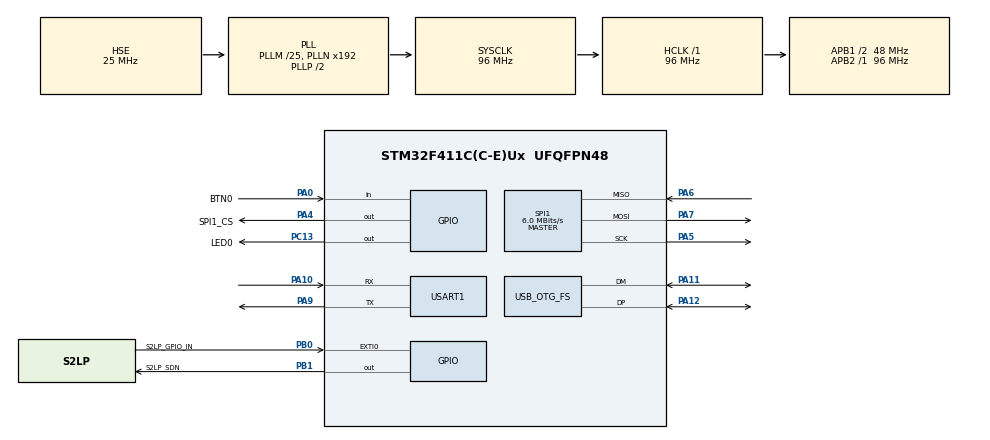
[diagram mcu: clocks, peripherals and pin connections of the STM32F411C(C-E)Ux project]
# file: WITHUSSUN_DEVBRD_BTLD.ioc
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Mcu.Family=STM32F4
Mcu.Name=STM32F411C(C-E)Ux
Mcu.Package=UFQFPN48
NVIC.EXTI0_IRQn=true\:0\:0\:false\:false\:true\:true\:true\:true
NVIC.OTG_FS_IRQn=true\:0\:0\:false\:false\:true\:false\:true\:true
NVIC.PriorityGroup=NVIC_PRIORITYGROUP_4
NVIC.TIM1_UP_TIM10_IRQn=true\:15\:0\:false\:false\:true\:false\:true\:true
NVIC.TimeBase=TIM1_UP_TIM10_IRQn
NVIC.TimeBaseIP=TIM1
NVIC.USART1_IRQn=true\:0\:0\:false\:false\:true\:true\:true\:true
PA0-WKUP.GPIO_Label=BTN0
PA0-WKUP.GPIO_PuPd=GPIO_PULLUP
PA0-WKUP.Signal=GPIO_Input
PA10.Mode=Asynchronous
PA10.Signal=USART1_RX
PA11.Mode=Device_Only
PA11.Signal=USB_OTG_FS_DM
PA12.Mode=Device_Only
PA12.Signal=USB_OTG_FS_DP
PA13.Mode=Serial_Wire
PA13.Signal=SYS_JTMS-SWDIO
PA14.Mode=Serial_Wire
PA14.Signal=SYS_JTCK-SWCLK
PA4.GPIO_Label=SPI1_CS
PA4.PinState=GPIO_PIN_SET
PA4.Signal=GPIO_Output
PA5.Mode=Full_Duplex_Master
PA5.Signal=SPI1_SCK
PA6.Mode=Full_Duplex_Master
PA6.Signal=SPI1_MISO
PA7.Mode=Full_Duplex_Master
PA7.Signal=SPI1_MOSI
PA9.Mode=Asynchronous
PA9.Signal=USART1_TX
PB0.GPIO_Label=S2LP_GPIO_IN
PB0.GPIO_ModeDefaultEXTI=GPIO_MODE_IT_FALLING
PB0.GPIO_PuPd=GPIO_PULLUP
PB0.Signal=GPXTI0
PB1.GPIO_Label=S2LP_SDN
PB1.Signal=GPIO_Output
PB13.Signal=SPI2_SCK
PC13-ANTI_TAMP.GPIO_Label=LED0
PC13-ANTI_TAMP.Signal=GPIO_Output
PC14-OSC32_IN.Mode=LSE-External-Oscillator
PC14-OSC32_IN.Signal=RCC_OSC32_IN
PC15-OSC32_OUT.Mode=LSE-External-Oscillator
PC15-OSC32_OUT.Signal=RCC_OSC32_OUT
PH0\ -\ OSC_IN.Mode=HSE-External-Oscillator
PH0\ -\ OSC_IN.Signal=RCC_OSC_IN
PH1\ -\ OSC_OUT.Mode=HSE-External-Oscillator
PH1\ -\ OSC_OUT.Signal=RCC_OSC_OUT
ProjectManager.HeapSize=0x2000
ProjectManager.StackSize=0x4000
ProjectManager.TargetToolchain=STM32CubeIDE
RCC.48MHZClocksFreq_Value=48000000
RCC.AHBFreq_Value=96000000
RCC.APB1CLKDivider=RCC_HCLK_DIV2
RCC.APB1Freq_Value=48000000
RCC.APB1TimFreq_Value=96000000
RCC.APB2Freq_Value=96000000
RCC.APB2TimFreq_Value=96000000
RCC.CortexFreq_Value=96000000
RCC.HCLKFreq_Value=96000000
RCC.HSE_VALUE=25000000
RCC.HSI_VALUE=16000000
RCC.PLLM=25
RCC.SYSCLKFreq_VALUE=96000000
RCC.SYSCLKSource=RCC_SYSCLKSOURCE_PLLCLK
RCC.VCOOutputFreq_Value=192000000
SPI1.BaudRatePrescaler=SPI_BAUDRATEPRESCALER_16
SPI1.CalculateBaudRate=6.0 MBits/s
SPI1.Direction=SPI_DIRECTION_2LINES
SPI1.Mode=SPI_MODE_MASTER
SPI1.VirtualType=VM_MASTER
USART1.VirtualMode=VM_ASYNC
USB_DEVICE.CLASS_NAME_FS=CDC
USB_DEVICE.LANGID_STRING=1042
USB_DEVICE.VirtualMode=Cdc
USB_DEVICE.VirtualModeFS=Cdc_FS
USB_OTG_FS.VirtualMode=Device_Only
VP_SYS_VS_tim1.Mode=TIM1
VP_USB_DEVICE_VS_USB_DEVICE_CDC_FS.Mode=CDC_FS
board=custom

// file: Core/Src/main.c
/* USER CODE BEGIN Header */
/**
  ******************************************************************************
  * @file           : main.c
  * @brief          : Main program body
  ******************************************************************************
  * @attention
  *
  * Copyright (c) 2025 STMicroelectronics.
  * All rights reserved.
  *
  * This software is licensed under terms that can be found in the LICENSE file
  * in the root directory of this software component.
  * If no LICENSE file comes with this software, it is provided AS-IS.
  *
  ******************************************************************************
  */
/* USER CODE END Header */
#include "main.h"
#include "usb_device.h"

/* USER CODE BEGIN Includes */

#include "enhanced_logging.h"
#include "wts_list_object.h"
#include "menu.h"
#include "flash_if.h"

/* USER CODE END Includes */

SPI_HandleTypeDef hspi1;

UART_HandleTypeDef huart1;

void SystemClock_Config(void);
static void MX_GPIO_Init(void);
static void MX_SPI1_Init(void);
static void MX_USART1_UART_Init(void);

/* USER CODE BEGIN 0 */

#define STATICTIMER_BEGIN(name, mills)                      \
  static uint32_t name##_statictimer_tickstore;             \
  if(HAL_GetTick() - name##_statictimer_tickstore >= mills) \
  {

#define STATICTIMER_END(name)                               \
    name##_statictimer_tickstore = HAL_GetTick();           \
  }

void go2APP(void)
{
  uint32_t JumpAddress;
  pFunction Jump_To_Application;
  printf("BOOTLOADER Start \r\n");

  //check if there is something "installed" in the app FLASH region
  if(((*(uint32_t*) APPLICATION_ADDRESS) & 0x2FFE0000) == 0x20000000)
  {
    printf("APP Start ...\r\n");
    HAL_Delay(100);
    //jump to the application
    JumpAddress = *(uint32_t *) (APPLICATION_ADDRESS + 4 );
    Jump_To_Application = (pFunction) JumpAddress;
    //initialize application's stack pointer
    __set_MSP(*(uint32_t *)APPLICATION_ADDRESS);
    Jump_To_Application();
  }
  else
  {
    //there is no application installed
    printf("No APP found\r\n");
  }
}

/* USER CODE END 0 */

int main(void)
{

  /* MCU Configuration--------------------------------------------------------*/

  /* Reset of all peripherals, Initializes the Flash interface and the Systick. */
  HAL_Init();

  /* Configure the system clock */
  SystemClock_Config();

  /* Initialize all configured peripherals */
  MX_GPIO_Init();
  MX_SPI1_Init();
  MX_USB_DEVICE_Init();
  MX_USART1_UART_Init();
  /* USER CODE BEGIN 2 */
  logging_tasks_process_begin();
  char args[3][64];

  printf(" ==== Bootloader Test ==== \n");

  /* USER CODE END 2 */

  /* Infinite loop */
  /* USER CODE BEGIN WHILE */

//  HAL_UART_Receive_IT(&huart1, &uart_rx_char, 1);

  while (1)
  {
    /* USER CODE END WHILE */

    /* USER CODE BEGIN 3 */

    logging_tasks_process();

    STATICTIMER_BEGIN(timer02, 500);
    {
      HAL_GPIO_TogglePin(LED0_GPIO_Port, LED0_Pin);
    }
    STATICTIMER_END(timer02);

    STATICTIMER_BEGIN(timer01, 1000);
    {
//      static uint32_t cnt=0;
//      printf("Bootloader Session : %d\n", cnt++);
    }
    STATICTIMER_END(timer01);

    if(cli_enter_avilable)
    {
      cli_enter_avilable = 0;

      printf("Hello There\n");
    }

    if(cli_line_available)
    {
      cli_line_available = 0;

      printf("CMD(%d):%s\n", cli_line_datalen, cli_line_data);

      memset(args, 0, sizeof(args));

      char *ptr = strtok((char*)cli_line_data, " ");

      uint8_t i=0;
      while(ptr != NULL)
      {
        strcpy(args[i], ptr);
        ptr = strtok(NULL, " ");
        i++;
        if(i == 3) break;
      }

      if(strcmp(args[0], "hello") == 0)
      {
        printf("There\n");
      }
      else if(strcmp(args[0], "download") == 0)
      {
        SerialDownload();
      }
      else if(strcmp(args[0], "upload") == 0)
      {
        SerialUpload();
      }
      else if(strcmp(args[0], "run") == 0)
      {
        go2APP();
      }
    }

  }
  /* USER CODE END 3 */
}

void SystemClock_Config(void)
{
  RCC_OscInitTypeDef RCC_OscInitStruct = {0};
  RCC_ClkInitTypeDef RCC_ClkInitStruct = {0};

  /** Configure the main internal regulator output voltage
  */
  __HAL_RCC_PWR_CLK_ENABLE();
  __HAL_PWR_VOLTAGESCALING_CONFIG(PWR_REGULATOR_VOLTAGE_SCALE1);

  /** Initializes the RCC Oscillators according to the specified parameters
  * in the RCC_OscInitTypeDef structure.
  */
  RCC_OscInitStruct.OscillatorType = RCC_OSCILLATORTYPE_HSE;
  RCC_OscInitStruct.HSEState = RCC_HSE_ON;
  RCC_OscInitStruct.PLL.PLLState = RCC_PLL_ON;
  RCC_OscInitStruct.PLL.PLLSource = RCC_PLLSOURCE_HSE;
  RCC_OscInitStruct.PLL.PLLM = 25;
  RCC_OscInitStruct.PLL.PLLN = 192;
  RCC_OscInitStruct.PLL.PLLP = RCC_PLLP_DIV2;
  RCC_OscInitStruct.PLL.PLLQ = 4;
  if (HAL_RCC_OscConfig(&RCC_OscInitStruct) != HAL_OK)
  {
    Error_Handler();
  }

  /** Initializes the CPU, AHB and APB buses clocks
  */
  RCC_ClkInitStruct.ClockType = RCC_CLOCKTYPE_HCLK|RCC_CLOCKTYPE_SYSCLK
                              |RCC_CLOCKTYPE_PCLK1|RCC_CLOCKTYPE_PCLK2;
  RCC_ClkInitStruct.SYSCLKSource = RCC_SYSCLKSOURCE_PLLCLK;
  RCC_ClkInitStruct.AHBCLKDivider = RCC_SYSCLK_DIV1;
  RCC_ClkInitStruct.APB1CLKDivider = RCC_HCLK_DIV2;
  RCC_ClkInitStruct.APB2CLKDivider = RCC_HCLK_DIV1;

  if (HAL_RCC_ClockConfig(&RCC_ClkInitStruct, FLASH_LATENCY_3) != HAL_OK)
  {
    Error_Handler();
  }
}

static void MX_SPI1_Init(void)
{

  /* SPI1 parameter configuration*/
  hspi1.Instance = SPI1;
  hspi1.Init.Mode = SPI_MODE_MASTER;
  hspi1.Init.Direction = SPI_DIRECTION_2LINES;
  hspi1.Init.DataSize = SPI_DATASIZE_8BIT;
  hspi1.Init.CLKPolarity = SPI_POLARITY_LOW;
  hspi1.Init.CLKPhase = SPI_PHASE_1EDGE;
  hspi1.Init.NSS = SPI_NSS_SOFT;
  hspi1.Init.BaudRatePrescaler = SPI_BAUDRATEPRESCALER_16;
  hspi1.Init.FirstBit = SPI_FIRSTBIT_MSB;
  hspi1.Init.TIMode = SPI_TIMODE_DISABLE;
  hspi1.Init.CRCCalculation = SPI_CRCCALCULATION_DISABLE;
  hspi1.Init.CRCPolynomial = 10;
  if (HAL_SPI_Init(&hspi1) != HAL_OK)
  {
    Error_Handler();
  }

}

static void MX_USART1_UART_Init(void)
{

  huart1.Instance = USART1;
  huart1.Init.BaudRate = 115200;
  huart1.Init.WordLength = UART_WORDLENGTH_8B;
  huart1.Init.StopBits = UART_STOPBITS_1;
  huart1.Init.Parity = UART_PARITY_NONE;
  huart1.Init.Mode = UART_MODE_TX_RX;
  huart1.Init.HwFlowCtl = UART_HWCONTROL_NONE;
  huart1.Init.OverSampling = UART_OVERSAMPLING_16;
  if (HAL_UART_Init(&huart1) != HAL_OK)
  {
    Error_Handler();
  }

}

static void MX_GPIO_Init(void)
{
  GPIO_InitTypeDef GPIO_InitStruct = {0};

  /* GPIO Ports Clock Enable */
  __HAL_RCC_GPIOC_CLK_ENABLE();
  __HAL_RCC_GPIOH_CLK_ENABLE();
  __HAL_RCC_GPIOA_CLK_ENABLE();
  __HAL_RCC_GPIOB_CLK_ENABLE();

  /*Configure GPIO pin Output Level */
  HAL_GPIO_WritePin(LED0_GPIO_Port, LED0_Pin, GPIO_PIN_RESET);

  /*Configure GPIO pin Output Level */
  HAL_GPIO_WritePin(SPI1_CS_GPIO_Port, SPI1_CS_Pin, GPIO_PIN_SET);

  /*Configure GPIO pin Output Level */
  HAL_GPIO_WritePin(S2LP_SDN_GPIO_Port, S2LP_SDN_Pin, GPIO_PIN_RESET);

  /*Configure GPIO pin : LED0_Pin */
  GPIO_InitStruct.Pin = LED0_Pin;
  GPIO_InitStruct.Mode = GPIO_MODE_OUTPUT_PP;
  GPIO_InitStruct.Pull = GPIO_NOPULL;
  GPIO_InitStruct.Speed = GPIO_SPEED_FREQ_LOW;
  HAL_GPIO_Init(LED0_GPIO_Port, &GPIO_InitStruct);

  /*Configure GPIO pin : BTN0_Pin */
  GPIO_InitStruct.Pin = BTN0_Pin;
  GPIO_InitStruct.Mode = GPIO_MODE_INPUT;
  GPIO_InitStruct.Pull = GPIO_PULLUP;
  HAL_GPIO_Init(BTN0_GPIO_Port, &GPIO_InitStruct);

  /*Configure GPIO pin : SPI1_CS_Pin */
  GPIO_InitStruct.Pin = SPI1_CS_Pin;
  GPIO_InitStruct.Mode = GPIO_MODE_OUTPUT_PP;
  GPIO_InitStruct.Pull = GPIO_NOPULL;
  GPIO_InitStruct.Speed = GPIO_SPEED_FREQ_LOW;
  HAL_GPIO_Init(SPI1_CS_GPIO_Port, &GPIO_InitStruct);

  /*Configure GPIO pin : S2LP_GPIO_IN_Pin */
  GPIO_InitStruct.Pin = S2LP_GPIO_IN_Pin;
  GPIO_InitStruct.Mode = GPIO_MODE_IT_FALLING;
  GPIO_InitStruct.Pull = GPIO_PULLUP;
  HAL_GPIO_Init(S2LP_GPIO_IN_GPIO_Port, &GPIO_InitStruct);

  /*Configure GPIO pin : S2LP_SDN_Pin */
  GPIO_InitStruct.Pin = S2LP_SDN_Pin;
  GPIO_InitStruct.Mode = GPIO_MODE_OUTPUT_PP;
  GPIO_InitStruct.Pull = GPIO_NOPULL;
  GPIO_InitStruct.Speed = GPIO_SPEED_FREQ_LOW;
  HAL_GPIO_Init(S2LP_SDN_GPIO_Port, &GPIO_InitStruct);

  /*Configure GPIO pin : PB13 */
  GPIO_InitStruct.Pin = GPIO_PIN_13;
  GPIO_InitStruct.Mode = GPIO_MODE_AF_PP;
  GPIO_InitStruct.Pull = GPIO_NOPULL;
  GPIO_InitStruct.Speed = GPIO_SPEED_FREQ_VERY_HIGH;
  GPIO_InitStruct.Alternate = GPIO_AF5_SPI2;
  HAL_GPIO_Init(GPIOB, &GPIO_InitStruct);

  /* EXTI interrupt init*/
  HAL_NVIC_SetPriority(EXTI0_IRQn, 0, 0);
  HAL_NVIC_EnableIRQ(EXTI0_IRQn);

}

void HAL_TIM_PeriodElapsedCallback(TIM_HandleTypeDef *htim)
{
  if (htim->Instance == TIM1)
  {
    HAL_IncTick();
  }
}

void Error_Handler(void)
{
  __disable_irq();
  while (1)
  {
  }
}
